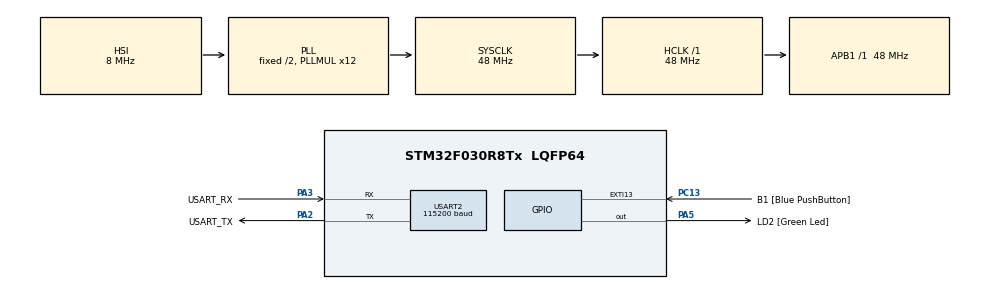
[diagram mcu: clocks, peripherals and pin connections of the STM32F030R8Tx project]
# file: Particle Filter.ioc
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Mcu.Family=STM32F0
Mcu.Name=STM32F030R8Tx
Mcu.Package=LQFP64
PA13.GPIO_Label=TMS
PA13.Mode=Serial_Wire
PA13.Signal=SYS_SWDIO
PA14.GPIO_Label=TCK
PA14.Mode=Serial_Wire
PA14.Signal=SYS_SWCLK
PA2.GPIO_Label=USART_TX
PA2.GPIO_Mode=GPIO_MODE_AF_PP
PA2.GPIO_PuPd=GPIO_NOPULL
PA2.GPIO_Speed=GPIO_SPEED_FREQ_LOW
PA2.Mode=Asynchronous
PA2.Signal=USART2_TX
PA3.GPIO_Label=USART_RX
PA3.GPIO_Mode=GPIO_MODE_AF_PP
PA3.GPIO_PuPd=GPIO_NOPULL
PA3.GPIO_Speed=GPIO_SPEED_FREQ_LOW
PA3.Mode=Asynchronous
PA3.Signal=USART2_RX
PA5.GPIO_Label=LD2 [Green Led]
PA5.GPIO_Mode=GPIO_MODE_OUTPUT_PP
PA5.GPIO_PuPd=GPIO_NOPULL
PA5.GPIO_Speed=GPIO_SPEED_FREQ_LOW
PA5.Signal=GPIO_Output
PC13.GPIO_Label=B1 [Blue PushButton]
PC13.GPIO_ModeDefaultEXTI=GPIO_MODE_IT_FALLING
PC13.Signal=GPXTI13
PC14-OSC32_IN.Mode=LSE-External-Oscillator
PC14-OSC32_IN.Signal=RCC_OSC32_IN
PC15-OSC32_OUT.Mode=LSE-External-Oscillator
PC15-OSC32_OUT.Signal=RCC_OSC32_OUT
PF0-OSC_IN.Mode=HSE-External-Clock-Source
PF0-OSC_IN.Signal=RCC_OSC_IN
PF1-OSC_OUT.Signal=RCC_OSC_OUT
ProjectManager.HeapSize=0x0
ProjectManager.StackSize=0x400
ProjectManager.TargetToolchain=STM32CubeIDE
RCC.AHBFreq_Value=48000000
RCC.APB1Freq_Value=48000000
RCC.APB1TimFreq_Value=48000000
RCC.HCLKFreq_Value=48000000
RCC.PLLMUL=RCC_PLL_MUL12
RCC.SYSCLKFreq_VALUE=48000000
RCC.SYSCLKSource=RCC_SYSCLKSOURCE_PLLCLK
USART2.BaudRate=115200
USART2.VirtualMode-Asynchronous=VM_ASYNC
board=NUCLEO-F030R8

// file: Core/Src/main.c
/* USER CODE BEGIN Header */
/**
  ******************************************************************************
  * @file           : main.c
  * @brief          : Main program body
  ******************************************************************************
  * @attention
  *
  * Copyright (c) 2026 STMicroelectronics.
  * All rights reserved.
  *
  * This software is licensed under terms that can be found in the LICENSE file
  * in the root directory of this software component.
  * If no LICENSE file comes with this software, it is provided AS-IS.
  *
  ******************************************************************************
  */
/* USER CODE END Header */
#include "main.h"

/* USER CODE BEGIN Includes */
#include "particle_filter.h"

#include <stdint.h>
#include <stdio.h>
#include <stdlib.h>
#include <string.h>

/* USER CODE END Includes */

UART_HandleTypeDef huart2;

void SystemClock_Config(void);
static void MX_GPIO_Init(void);
static void MX_USART2_UART_Init(void);

/* USER CODE BEGIN 0 */

/* Comunicação entre o PC e o filtro embarcado.
 * Cada comando é uma linha de texto terminada em '\n'; os campos usam vírgulas.
 * O PC controla os testes: envia RESET,semente e depois STEP para cada teste
 * independente. Este módulo converte as unidades, chama o filtro e responde;
 * a geração dos cenários e a gravação dos CSVs ficam no PC.
 * Mantenha as marcações USER CODE: elas delimitam áreas preservadas pelo CubeMX. */

/* Capacidade inclui o terminador '\0'. Valores do protocolo são inteiros:
 * distâncias em micrômetros (1 m = 1000000) e ângulos em milésimos de grau. */
#define UART_LINHA_TAMANHO 160
#define ESCALA_METROS 1000000.0f
#define ESCALA_ANGULO 1000.0f

/* Envio bloqueante pela USART2. O texto deve terminar em '\0'; esse terminador
 * não é transmitido. HAL_MAX_DELAY aguarda a conclusão sem timeout finito. */
static void uart_enviar(const char *texto)
{
  HAL_UART_Transmit(&huart2, (const uint8_t *)texto,
                    (uint16_t)strlen(texto), HAL_MAX_DELAY);
}

/* Recebe uma linha sem guardar '\r' ou '\n', aceitando finais LF e CRLF.
 * Retornos: 1 = linha completa; 0 = falha na UART; -1 = linha muito longa.
 * O chamador fornece um buffer com capacidade para dados e terminador. */
static int uart_receber_linha(char *linha, size_t capacidade)
{
  size_t indice = 0;
  uint8_t caractere;

  while (1)
  {
    if (HAL_UART_Receive(&huart2, &caractere, 1, HAL_MAX_DELAY) != HAL_OK)
    {
      return 0;
    }
    if (caractere == '\r')
    {
      continue;
    }
    if (caractere == '\n')
    {
      linha[indice] = '\0';
      return 1;
    }
    if (indice + 1 >= capacidade)
    {
      /* Descarta o restante até '\n' para que a próxima leitura comece em um
       * novo comando, em vez de interpretar o trecho excedente como comando. */
      linha[0] = '\0';
      do
      {
        if (HAL_UART_Receive(&huart2, &caractere, 1, HAL_MAX_DELAY) != HAL_OK)
        {
          return 0;
        }
      } while (caractere != '\n');
      return -1;
    }
    linha[indice++] = (char)caractere;
  }
}

/* Converte um campo decimal com sinal, exigindo consumo de todo o texto.
 * Não verifica explicitamente overflow de strtol nem a faixa de int32_t;
 * o cliente deve enviar valores representáveis no protocolo de 32 bits. */
static int ler_inteiro(const char *texto, int32_t *valor)
{
  char *fim;
  long convertido = strtol(texto, &fim, 10);

  if (texto == fim || *fim != '\0')
  {
    return 0;
  }
  *valor = (int32_t)convertido;
  return 1;
}

/* A semente aceita apenas dígitos, de 0 a UINT32_MAX, sem sinal.
 * A verificação antes de multiplicar evita overflow durante a conversão. */
static int ler_semente(const char *texto, uint32_t *valor)
{
  uint32_t convertido = 0;
  if (*texto == '\0')
  {
    return 0;
  }
  while (*texto != '\0')
  {
    unsigned int digito;
    if (*texto < '0' || *texto > '9')
    {
      return 0;
    }
    digito = (unsigned int)(*texto - '0');
    if (convertido > (UINT32_MAX - digito) / 10u)
    {
      return 0;
    }
    convertido = convertido * 10u + digito;
    texto++;
  }
  *valor = convertido;
  return 1;
}

/* Converte metros para a unidade inteira da resposta, arredondando ao inteiro
 * mais próximo; empates são afastados de zero. Evita formatar floats na UART. */
static int32_t metros_para_inteiro(float valor)
{
  float escalado = valor * ESCALA_METROS;
  return (int32_t)(escalado + (escalado >= 0.0f ? 0.5f : -0.5f));
}

/* Formato: STEP,etapa,deslocamento,angulo,esquerda,direita,inferior,superior.
 * Recebe sete inteiros nas escalas definidas acima. strtok modifica a linha.
 * Retorna 0 se não for STEP; retorna 1 se reconhecido, inclusive com erro.
 * O número da etapa identifica a resposta; não controla quantas vezes rodar. */
static int processar_step(char *linha)
{
  int32_t valores[7];
  char *token = strtok(linha, ",");
  char resposta[128];
  Medicao medicao;
  Posicao estimativa;
  float x_medido;
  float y_medido;

  if (token == NULL || strcmp(token, "STEP") != 0)
  {
    return 0;
  }

  /* Exige sete tokens numéricos e rejeita tokens adicionais. */
  for (int i = 0; i < 7; i++)
  {
    token = strtok(NULL, ",");
    if (token == NULL || !ler_inteiro(token, &valores[i]))
    {
      uart_enviar("ERROR,CAMPOS_INVALIDOS\n");
      return 1;
    }
  }
  if (strtok(NULL, ",") != NULL)
  {
    uart_enviar("ERROR,CAMPOS_INVALIDOS\n");
    return 1;
  }

  /* O filtro trabalha com floats em metros e graus, não com inteiros UART. */
  medicao.deslocamento = (float)valores[1] / ESCALA_METROS;
  medicao.angulo = (float)valores[2] / ESCALA_ANGULO;
  for (int i = 0; i < NUM_SENSORES; i++)
  {
    medicao.sensores[i] = (float)valores[i + 3] / ESCALA_METROS;
  }

  /* Verifica etapa positiva e limites individuais dos quatro sensores.
   * Não exige que sensores opostos somem exatamente a dimensão do mapa. */
  if (valores[0] < 1 ||
      valores[3] < 0 || valores[3] > (int32_t)(MAPA_LARGURA * ESCALA_METROS) ||
      valores[4] < 0 || valores[4] > (int32_t)(MAPA_LARGURA * ESCALA_METROS) ||
      valores[5] < 0 || valores[5] > (int32_t)(MAPA_ALTURA * ESCALA_METROS) ||
      valores[6] < 0 || valores[6] > (int32_t)(MAPA_ALTURA * ESCALA_METROS))
  {
    uart_enviar("ERROR,VALORES_FORA_DO_MAPA\n");
    return 1;
  }

  /* Executa predição, atualização dos pesos, estimativa e reamostragem. */
  estimativa = filtro_processar(&medicao);
  /* Posição medida: média das duas indicações de cada eixo. É informativa
   * na resposta; o filtro recebe diretamente as quatro distâncias acima. */
  x_medido = (medicao.sensores[0] +
              (MAPA_LARGURA - medicao.sensores[1])) / 2.0f;
  y_medido = (medicao.sensores[2] +
              (MAPA_ALTURA - medicao.sensores[3])) / 2.0f;

  /* RESULT,etapa,x_medido,y_medido,x_estimado,y_estimado.
   * Todas as coordenadas retornam como inteiros em micrômetros; o PC as
   * converte em metros para apresentação e armazenamento nos CSVs. */
  (void)snprintf(resposta, sizeof(resposta),
                 "RESULT,%ld,%ld,%ld,%ld,%ld\n",
                 (long)valores[0],
                 (long)metros_para_inteiro(x_medido),
                 (long)metros_para_inteiro(y_medido),
                 (long)metros_para_inteiro(estimativa.x),
                 (long)metros_para_inteiro(estimativa.y));
  uart_enviar(resposta);
  return 1;
}

/* Lê e atende um comando por chamada. As respostas de erro encerram apenas
 * esse atendimento; o laço principal continua disponível para novos comandos. */
static void processar_comando_uart(void)
{
  char linha[UART_LINHA_TAMANHO];
  int estado = uart_receber_linha(linha, sizeof(linha));

  if (estado < 0)
  {
    uart_enviar("ERROR,LINHA_MUITO_LONGA\n");
    return;
  }
  if (estado == 0)
  {
    uart_enviar("ERROR,UART\n");
    return;
  }
  if (strncmp(linha, "RESET,", 6) == 0)
  {
    /* Reinicia partículas e gerador com a semente escolhida pelo PC.
     * O PC registra essa semente para reprodução pela referência Python. */
    uint32_t semente;
    if (!ler_semente(linha + 6, &semente))
    {
      uart_enviar("ERROR,SEMENTE_INVALIDA\n");
      return;
    }
    filtro_inicializar(semente);
    uart_enviar("READY\n");
    return;
  }
  if (strcmp(linha, "RESET") == 0)
  {
    /* Forma sem argumento: reinicialização determinística com semente zero. */
    filtro_inicializar(0u);
    uart_enviar("READY\n");
    return;
  }
  if (strcmp(linha, "PING") == 0)
  {
    /* Testa a comunicação sem alterar o estado do filtro. */
    uart_enviar("PONG\n");
    return;
  }
  if (strcmp(linha, "INFO") == 0)
  {
    /* Informa largura e altura em micrômetros, número de partículas e sensores.
     * Permite ao cliente consultar a configuração compilada no firmware. */
    char resposta[64];
    (void)snprintf(resposta, sizeof(resposta),
                   "INFO,%ld,%ld,%u,%u\n",
                   (long)(MAPA_LARGURA * ESCALA_METROS),
                   (long)(MAPA_ALTURA * ESCALA_METROS),
                   (unsigned int)NUM_PARTICULAS,
                   (unsigned int)NUM_SENSORES);
    uart_enviar(resposta);
    return;
  }
  if (!processar_step(linha))
  {
    uart_enviar("ERROR,COMANDO_DESCONHECIDO\n");
  }
}

/* USER CODE END 0 */

int main(void)
{

  /* MCU Configuration--------------------------------------------------------*/

  /* Reset of all peripherals, Initializes the Flash interface and the Systick. */
  HAL_Init();

  /* Configure the system clock */
  SystemClock_Config();

  /* Initialize all configured peripherals */
  MX_GPIO_Init();
  MX_USART2_UART_Init();
  /* USER CODE BEGIN 2 */
  /* Estado inicial válido mesmo antes do primeiro RESET do PC.
   * READY sinaliza que a inicialização terminou e comandos podem ser enviados. */
  filtro_inicializar(0u);
  uart_enviar("READY\n");

  /* USER CODE END 2 */

  /* Infinite loop */
  /* USER CODE BEGIN WHILE */
  while (1)
  {
    /* Atendimento síncrono: espera uma linha, processa e envia a resposta.
     * Não há fila de testes no firmware; o cliente coordena cada solicitação. */
    processar_comando_uart();
    /* USER CODE END WHILE */

  }
}

void SystemClock_Config(void)
{
  RCC_OscInitTypeDef RCC_OscInitStruct = {0};
  RCC_ClkInitTypeDef RCC_ClkInitStruct = {0};

  /** Initializes the RCC Oscillators according to the specified parameters
  * in the RCC_OscInitTypeDef structure.
  */
  RCC_OscInitStruct.OscillatorType = RCC_OSCILLATORTYPE_HSI;
  RCC_OscInitStruct.HSIState = RCC_HSI_ON;
  RCC_OscInitStruct.HSICalibrationValue = RCC_HSICALIBRATION_DEFAULT;
  RCC_OscInitStruct.PLL.PLLState = RCC_PLL_ON;
  RCC_OscInitStruct.PLL.PLLSource = RCC_PLLSOURCE_HSI;
  RCC_OscInitStruct.PLL.PLLMUL = RCC_PLL_MUL12;
  RCC_OscInitStruct.PLL.PREDIV = RCC_PREDIV_DIV1;
  if (HAL_RCC_OscConfig(&RCC_OscInitStruct) != HAL_OK)
  {
    Error_Handler();
  }

  /** Initializes the CPU, AHB and APB buses clocks
  */
  RCC_ClkInitStruct.ClockType = RCC_CLOCKTYPE_HCLK|RCC_CLOCKTYPE_SYSCLK
                              |RCC_CLOCKTYPE_PCLK1;
  RCC_ClkInitStruct.SYSCLKSource = RCC_SYSCLKSOURCE_PLLCLK;
  RCC_ClkInitStruct.AHBCLKDivider = RCC_SYSCLK_DIV1;
  RCC_ClkInitStruct.APB1CLKDivider = RCC_HCLK_DIV1;

  if (HAL_RCC_ClockConfig(&RCC_ClkInitStruct, FLASH_LATENCY_1) != HAL_OK)
  {
    Error_Handler();
  }
}

static void MX_USART2_UART_Init(void)
{

  /* USER CODE BEGIN USART2_Init 1 */

  /* USART2: 115200 baud, 8 bits, sem paridade, 1 bit de parada (8N1),
   * transmissão e recepção habilitadas, sem controle de fluxo por hardware.
   * O cliente no PC precisa usar os mesmos parâmetros. */
  /* USER CODE END USART2_Init 1 */
  huart2.Instance = USART2;
  huart2.Init.BaudRate = 115200;
  huart2.Init.WordLength = UART_WORDLENGTH_8B;
  huart2.Init.StopBits = UART_STOPBITS_1;
  huart2.Init.Parity = UART_PARITY_NONE;
  huart2.Init.Mode = UART_MODE_TX_RX;
  huart2.Init.HwFlowCtl = UART_HWCONTROL_NONE;
  huart2.Init.OverSampling = UART_OVERSAMPLING_16;
  huart2.Init.OneBitSampling = UART_ONE_BIT_SAMPLE_DISABLE;
  huart2.AdvancedInit.AdvFeatureInit = UART_ADVFEATURE_NO_INIT;
  if (HAL_UART_Init(&huart2) != HAL_OK)
  {
    Error_Handler();
  }

}

static void MX_GPIO_Init(void)
{
  GPIO_InitTypeDef GPIO_InitStruct = {0};

  /* GPIO Ports Clock Enable */
  __HAL_RCC_GPIOC_CLK_ENABLE();
  __HAL_RCC_GPIOF_CLK_ENABLE();
  __HAL_RCC_GPIOA_CLK_ENABLE();

  /*Configure GPIO pin Output Level */
  HAL_GPIO_WritePin(LD2_GPIO_Port, LD2_Pin, GPIO_PIN_RESET);

  /*Configure GPIO pin : B1_Pin */
  GPIO_InitStruct.Pin = B1_Pin;
  GPIO_InitStruct.Mode = GPIO_MODE_IT_FALLING;
  GPIO_InitStruct.Pull = GPIO_NOPULL;
  HAL_GPIO_Init(B1_GPIO_Port, &GPIO_InitStruct);

  /*Configure GPIO pin : LD2_Pin */
  GPIO_InitStruct.Pin = LD2_Pin;
  GPIO_InitStruct.Mode = GPIO_MODE_OUTPUT_PP;
  GPIO_InitStruct.Pull = GPIO_NOPULL;
  GPIO_InitStruct.Speed = GPIO_SPEED_FREQ_LOW;
  HAL_GPIO_Init(LD2_GPIO_Port, &GPIO_InitStruct);

}

void Error_Handler(void)
{
  /* USER CODE BEGIN Error_Handler_Debug */
  /* Falha de inicialização: interrompe a execução normal e permanece parado.
   * Diferentemente de ERROR no protocolo, este caminho não retorna ao laço UART. */
  /* User can add his own implementation to report the HAL error return state */
  __disable_irq();
  while (1)
  {
  }
  /* USER CODE END Error_Handler_Debug */
}
